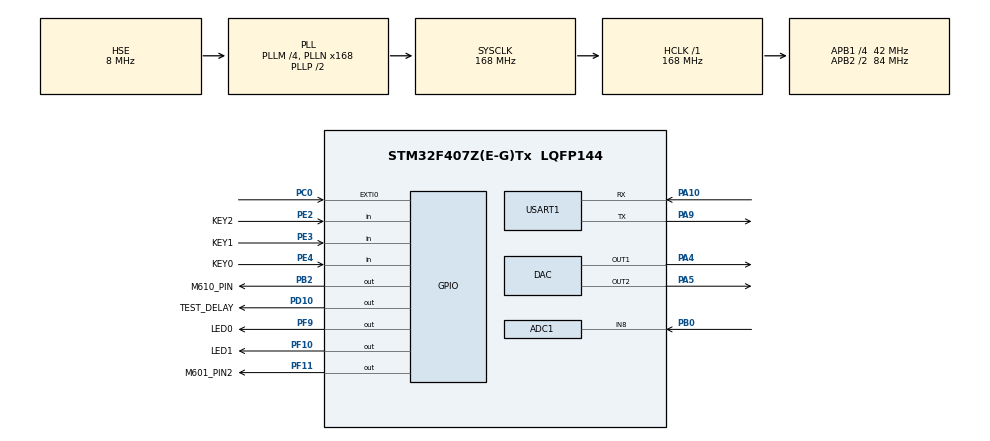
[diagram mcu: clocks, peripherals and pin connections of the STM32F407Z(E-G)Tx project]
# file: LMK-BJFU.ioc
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ADC1.Channel-1\#ChannelRegularConversion=ADC_CHANNEL_8
ADC1.ExternalTrigConv=ADC_EXTERNALTRIGCONV_T3_TRGO
ADC1.NbrOfConversionFlag=1
ADC1.Rank-1\#ChannelRegularConversion=1
ADC1.SamplingTime-1\#ChannelRegularConversion=ADC_SAMPLETIME_3CYCLES
ADC1.master=1
DAC.DAC_OutputBuffer=DAC_OUTPUTBUFFER_DISABLE
DAC.DAC_OutputBuffer2=DAC_OUTPUTBUFFER_DISABLE
DAC.DAC_Trigger=DAC_TRIGGER_T2_TRGO
DAC.DAC_Trigger2=DAC_TRIGGER_T2_TRGO
Dma.ADC1.1.Direction=DMA_PERIPH_TO_MEMORY
Dma.ADC1.1.FIFOMode=DMA_FIFOMODE_DISABLE
Dma.ADC1.1.Instance=DMA2_Stream0
Dma.ADC1.1.MemDataAlignment=DMA_MDATAALIGN_HALFWORD
Dma.ADC1.1.MemInc=DMA_MINC_ENABLE
Dma.ADC1.1.Mode=DMA_NORMAL
Dma.ADC1.1.PeriphDataAlignment=DMA_PDATAALIGN_HALFWORD
Dma.ADC1.1.PeriphInc=DMA_PINC_DISABLE
Dma.ADC1.1.Priority=DMA_PRIORITY_LOW
Dma.DAC1.2.Direction=DMA_MEMORY_TO_PERIPH
Dma.DAC1.2.FIFOMode=DMA_FIFOMODE_DISABLE
Dma.DAC1.2.Instance=DMA1_Stream5
Dma.DAC1.2.MemDataAlignment=DMA_MDATAALIGN_HALFWORD
Dma.DAC1.2.MemInc=DMA_MINC_ENABLE
Dma.DAC1.2.Mode=DMA_CIRCULAR
Dma.DAC1.2.PeriphDataAlignment=DMA_PDATAALIGN_HALFWORD
Dma.DAC1.2.PeriphInc=DMA_PINC_DISABLE
Dma.DAC1.2.Priority=DMA_PRIORITY_LOW
Dma.DAC2.3.Direction=DMA_MEMORY_TO_PERIPH
Dma.DAC2.3.FIFOMode=DMA_FIFOMODE_DISABLE
Dma.DAC2.3.Instance=DMA1_Stream6
Dma.DAC2.3.MemDataAlignment=DMA_MDATAALIGN_HALFWORD
Dma.DAC2.3.MemInc=DMA_MINC_ENABLE
Dma.DAC2.3.Mode=DMA_CIRCULAR
Dma.DAC2.3.PeriphDataAlignment=DMA_PDATAALIGN_HALFWORD
Dma.DAC2.3.PeriphInc=DMA_PINC_DISABLE
Dma.DAC2.3.Priority=DMA_PRIORITY_LOW
Dma.Request0=USART1_TX
Dma.Request1=ADC1
Dma.Request2=DAC1
Dma.Request3=DAC2
Dma.USART1_TX.0.Direction=DMA_MEMORY_TO_PERIPH
Dma.USART1_TX.0.FIFOMode=DMA_FIFOMODE_DISABLE
Dma.USART1_TX.0.Instance=DMA2_Stream7
Dma.USART1_TX.0.MemDataAlignment=DMA_MDATAALIGN_BYTE
Dma.USART1_TX.0.MemInc=DMA_MINC_ENABLE
Dma.USART1_TX.0.Mode=DMA_NORMAL
Dma.USART1_TX.0.PeriphDataAlignment=DMA_PDATAALIGN_BYTE
Dma.USART1_TX.0.PeriphInc=DMA_PINC_DISABLE
Dma.USART1_TX.0.Priority=DMA_PRIORITY_MEDIUM
FREERTOS.Tasks01=M601_Task,-2,256,M601_Task_Main,As weak,NULL,Dynamic,NULL,NULL
Mcu.Family=STM32F4
Mcu.Name=STM32F407Z(E-G)Tx
Mcu.Package=LQFP144
NVIC.DMA1_Stream5_IRQn=true\:5\:0\:false\:false\:true\:true\:false\:true\:true
NVIC.DMA1_Stream6_IRQn=true\:5\:0\:false\:false\:true\:true\:false\:true\:true
NVIC.DMA2_Stream0_IRQn=true\:5\:0\:true\:false\:true\:true\:false\:true\:true
NVIC.DMA2_Stream7_IRQn=true\:7\:0\:true\:false\:true\:true\:false\:true\:true
NVIC.EXTI0_IRQn=true\:6\:0\:true\:false\:true\:true\:true\:true\:true
NVIC.PriorityGroup=NVIC_PRIORITYGROUP_4
NVIC.USART1_IRQn=true\:5\:0\:true\:false\:true\:true\:true\:true\:true
PA10.Mode=Asynchronous
PA10.Signal=USART1_RX
PA13.Mode=Serial_Wire
PA13.Signal=SYS_JTMS-SWDIO
PA14.Mode=Serial_Wire
PA14.Signal=SYS_JTCK-SWCLK
PA4.Signal=COMP_DAC1_group
PA5.Signal=COMP_DAC2_group
PA9.Mode=Asynchronous
PA9.Signal=USART1_TX
PB0.Signal=ADCx_IN8
PB2.GPIO_Label=M610_PIN
PB2.GPIO_ModeDefaultOutputPP=GPIO_MODE_OUTPUT_OD
PB2.GPIO_PuPd=GPIO_PULLUP
PB2.GPIO_Speed=GPIO_SPEED_FREQ_VERY_HIGH
PB2.PinState=GPIO_PIN_SET
PB2.Signal=GPIO_Output
PB8.Signal=I2C1_SCL
PB9.Signal=I2C1_SDA
PC0.Signal=GPXTI0
PD10.GPIO_Label=TEST_DELAY
PD10.GPIO_ModeDefaultOutputPP=GPIO_MODE_OUTPUT_OD
PD10.GPIO_PuPd=GPIO_PULLUP
PD10.GPIO_Speed=GPIO_SPEED_FREQ_VERY_HIGH
PD10.PinState=GPIO_PIN_SET
PD10.Signal=GPIO_Output
PE2.GPIO_Label=KEY2
PE2.GPIO_PuPd=GPIO_PULLUP
PE2.Signal=GPIO_Input
PE3.GPIO_Label=KEY1
PE3.GPIO_PuPd=GPIO_PULLUP
PE3.Signal=GPIO_Input
PE4.GPIO_Label=KEY0
PE4.GPIO_PuPd=GPIO_PULLUP
PE4.Signal=GPIO_Input
PF10.GPIO_Label=LED1
PF10.GPIO_Speed=GPIO_SPEED_FREQ_VERY_HIGH
PF10.Signal=GPIO_Output
PF11.GPIO_Label=M601_PIN2
PF11.GPIO_ModeDefaultOutputPP=GPIO_MODE_OUTPUT_OD
PF11.GPIO_PuPd=GPIO_PULLUP
PF11.GPIO_Speed=GPIO_SPEED_FREQ_VERY_HIGH
PF11.PinState=GPIO_PIN_SET
PF11.Signal=GPIO_Output
PF9.GPIO_Label=LED0
PF9.GPIO_Speed=GPIO_SPEED_FREQ_VERY_HIGH
PF9.Signal=GPIO_Output
PH0-OSC_IN.Mode=HSE-External-Oscillator
PH0-OSC_IN.Signal=RCC_OSC_IN
PH1-OSC_OUT.Mode=HSE-External-Oscillator
PH1-OSC_OUT.Signal=RCC_OSC_OUT
ProjectManager.HeapSize=0x400
ProjectManager.StackSize=0x600
ProjectManager.TargetToolchain=MDK-ARM V5.32
RCC.48MHZClocksFreq_Value=84000000
RCC.AHBFreq_Value=168000000
RCC.APB1CLKDivider=RCC_HCLK_DIV4
RCC.APB1Freq_Value=42000000
RCC.APB1TimFreq_Value=84000000
RCC.APB2CLKDivider=RCC_HCLK_DIV2
RCC.APB2Freq_Value=84000000
RCC.APB2TimFreq_Value=168000000
RCC.CortexFreq_Value=168000000
RCC.HCLKFreq_Value=168000000
RCC.HSE_VALUE=8000000
RCC.HSI_VALUE=16000000
RCC.LSE_VALUE=32768
RCC.PLLM=4
RCC.PLLN=168
RCC.PLLSourceVirtual=RCC_PLLSOURCE_HSE
RCC.SYSCLKFreq_VALUE=168000000
RCC.SYSCLKSource=RCC_SYSCLKSOURCE_PLLCLK
RCC.VCOOutputFreq_Value=336000000
SH.ADCx_IN8.0=ADC1_IN8,IN8
SH.COMP_DAC1_group.0=DAC_OUT1,DAC_OUT1
SH.COMP_DAC2_group.0=DAC_OUT2,DAC_OUT2
STMicroelectronics.X-CUBE-ALGOBUILD.1.3.0.LibraryCcDSPOoLibraryJjDSPOoLibrary=true
TIM2.Period=20-1
TIM2.TIM_MasterOutputTrigger=TIM_TRGO_UPDATE
TIM3.AutoReloadPreload=TIM_AUTORELOAD_PRELOAD_ENABLE
TIM3.Period=42-1
TIM3.Prescaler=2-1
TIM3.TIM_MasterOutputTrigger=TIM_TRGO_UPDATE
USART1.VirtualMode=VM_ASYNC
VP_FREERTOS_VS_CMSIS_V1.Mode=CMSIS_V1
VP_STMicroelectronics.X-CUBE-ALGOBUILD_VS_DSPOoLibraryJjLibrary_1.3.0_1.3.0.Mode=DSPOoLibraryJjLibrary
VP_TIM2_VS_ClockSourceINT.Mode=Internal
VP_TIM3_VS_ClockSourceINT.Mode=Internal
board=custom

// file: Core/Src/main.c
/* USER CODE BEGIN Header */
/**
  ******************************************************************************
  * @file           : main.c
  * @brief          : Main program body
  ******************************************************************************
  * @attention
  *
  * <h2><center>&copy; Copyright (c) 2023 STMicroelectronics.
  * All rights reserved.</center></h2>
  *
  * This software component is licensed by ST under BSD 3-Clause license,
  * the "License"; You may not use this file except in compliance with the
  * License. You may obtain a copy of the License at:
  *                        opensource.org/licenses/BSD-3-Clause
  *
  ******************************************************************************
  */
/* USER CODE END Header */
#include "main.h"
#include "cmsis_os.h"
#include "adc.h"
#include "dac.h"
#include "dma.h"
#include "tim.h"
#include "usart.h"
#include "gpio.h"

/* USER CODE BEGIN Includes */
#include "LMK_Delay.h"
#include "stdio.h"
#include "arm_math.h"
#include "arm_const_structs.h"
/* USER CODE END Includes */

void SystemClock_Config(void);
void MX_FREERTOS_Init(void);

/* USER CODE BEGIN 0 */
void generateFlatTopWindow(float32_t *window, uint32_t size);
#define FLAT_TOP_WINDOW_SIZE 1024
#define FFT_LENGTH 1024
#define SAMPLING_RATE 1000000
#define DAC_BUFFER_SIZE 512
__IO uint8_t AdcConvEnd = 0;
uint16_t adcBuff[FFT_LENGTH];
float32_t window[FFT_LENGTH * 2];
float fft_inputbuf[FFT_LENGTH * 2];
float fft_outputbuf[FFT_LENGTH];
//float32_t dacBuffer1[DAC_BUFFER_SIZE];
//float32_t dacBuffer2[DAC_BUFFER_SIZE];
//uint32_t dacValue1[DAC_BUFFER_SIZE];
//uint32_t dacValue2[DAC_BUFFER_SIZE];

uint32_t binIndex1, binIndex2;
float32_t signalFreq1;  // Frequency of first sinusoid (Hz)
float32_t signalFreq2;  // Frequency of second sinusoid (Hz)
float32_t signalAmplitude1;  // Amplitude of first sinusoid
float32_t signalAmplitude2;   // Amplitude of second sinusoid

uint32_t integerPart1;
uint32_t integerPart2;
float32_t decimalPart1;
float32_t decimalPart2;

// Function to apply Hamming window to input data
void generateFlatTopWindow(float32_t *window, uint32_t size) {
    for (uint32_t i = 0; i < size; i++) {
        float32_t a0 = 1.0;
        float32_t a1 = 1.93;
        float32_t a2 = 1.29;
        float32_t a3 = 0.388;
        float32_t a4 = 0.028;

        float32_t x = (float32_t)i / (float32_t)(size - 1);
        window[i] = a0 - a1 * cosf(2 * PI * x) + a2 * cosf(4 * PI * x) - a3 * cosf(6 * PI * x) + a4 * cosf(8 * PI * x);
    }
}
/* USER CODE END 0 */

int main(void)
{

  /* MCU Configuration--------------------------------------------------------*/

  /* Reset of all peripherals, Initializes the Flash interface and the Systick. */
  HAL_Init();

  /* Configure the system clock */
  SystemClock_Config();

  /* Initialize all configured peripherals */
  MX_GPIO_Init();
  MX_DMA_Init();
  MX_USART1_UART_Init();
  MX_ADC1_Init();
  MX_TIM3_Init();
  MX_DAC_Init();
  MX_TIM2_Init();
  /* USER CODE BEGIN 2 */

//	HAL_TIM_Base_Start_IT(&htim14);
	HAL_TIM_Base_Start(&htim3);                           //开启定时器3
  HAL_ADC_Start_DMA(&hadc1, (uint32_t *)adcBuff, FFT_LENGTH); //让ADC1去采集数，存放到adc_buff数组里
  while (!AdcConvEnd);                                   //等待转换完毕
//	for (uint16_t i = 0; i < FFT_LENGTH; i++)
//{
//    printf("%.3f\n", adcBuff[i] * 3.3 / 4095); //数据打印，查看结果
//}

for (int i = 0; i < FFT_LENGTH; i++)
{
    fft_inputbuf[i * 2] =   adcBuff[i] * 3.3 / 4096;//实部赋值，* 3.3 / 4096是为了将ADC采集到的值转换成实际电压
    fft_inputbuf[i * 2 + 1] = 0;//虚部赋值，固定为0.
}
generateFlatTopWindow(window, FFT_LENGTH * 2);
//arm_mult_f32(fft_inputbuf, window, fft_inputbuf, 2 * FFT_LENGTH);

for (int i = 0; i < FFT_LENGTH * 2; i++) {
    fft_inputbuf[i] *= window[i];
}
arm_cfft_f32(&arm_cfft_sR_f32_len1024, fft_inputbuf, 0, 1);
//此时inputbuffer放的是复数，对其求模放到outputbuffer里
arm_cmplx_mag_f32(fft_inputbuf, fft_outputbuf, FFT_LENGTH);

fft_outputbuf[0] /= 1024;

for (int i = 1; i < FFT_LENGTH; i++)//得到各次谐波幅值
{
    fft_outputbuf[i] /= 512;
}
//频率分离算法
	for (uint16_t i = FFT_LENGTH/2; i < FFT_LENGTH; i++)
{
    fft_outputbuf[i] = 0;
}
 fft_outputbuf[0] = 0;
 fft_outputbuf[1] = 0;
 fft_outputbuf[2] = 0;
arm_max_f32(fft_outputbuf, FFT_LENGTH, &signalAmplitude1, &binIndex1);
fft_outputbuf[binIndex1] = 0.0f;
 fft_outputbuf[binIndex1-1] = 0;
 fft_outputbuf[binIndex1-2] = 0;
 fft_outputbuf[binIndex1+1] = 0;
 fft_outputbuf[binIndex1+2] = 0;
arm_max_f32(fft_outputbuf, FFT_LENGTH, &signalAmplitude2, &binIndex2);
signalFreq1 = (float32_t)binIndex1 * (SAMPLING_RATE / FFT_LENGTH);
signalFreq2 = (float32_t)binIndex2 * (SAMPLING_RATE / FFT_LENGTH);
signalFreq1=signalFreq1/1000;
signalFreq2=signalFreq2/1000;

integerPart1 = (uint32_t)floor(signalFreq1);
decimalPart1 = signalFreq1 - integerPart1;
if(decimalPart1>0.5)
{
decimalPart1=1;
}
else
	decimalPart1=0;
signalFreq1=(integerPart1+decimalPart1)*1000;
if(signalFreq1>100000)
{
signalFreq1=1000000-signalFreq1;
}

uint32_t integerPart2 = (uint32_t)floor(signalFreq2);
decimalPart2 = signalFreq2 - integerPart2;
if(decimalPart2>0.5)
{
decimalPart2=1;
}
else
	decimalPart2=0;
signalFreq2=(integerPart2+decimalPart2)*1000;
if(signalFreq2>100000)
{
signalFreq2=1000000-signalFreq2;
}

if(signalFreq1>signalFreq2)
{
float32_t temp;
temp=signalFreq1;
signalFreq1=signalFreq2;
signalFreq2=temp;
}

printf("%.2f\r\n", signalFreq1);
printf("%.2f\r\n", signalFreq2);
printf("%.2f\r\n",signalAmplitude1);
printf("%.2f\r\n",signalAmplitude2);

/*DAC的运行频率为4.2M*/
uint16_t samples1 = 4200000/signalFreq1;
uint16_t samples2 =	4200000/signalFreq2;
uint16_t dacBuffer1[samples1];
uint16_t dacBuffer2[samples2];

for (int i = 0; i < samples1; i++)
{
dacBuffer1[i]=(uint32_t)((2*signalAmplitude1 * sin(2.0f * PI* i /samples1)+signalAmplitude1*2)*4096/3.3);
		              if (dacBuffer1[i] > 4095) {
                  dacBuffer1[i] = 4095;
                                           }
}

for (int i = 0; i < samples2; i++)
{
dacBuffer2[i]=(uint32_t)((2*signalAmplitude2 * sin(2.0f * PI* i /samples2)+2*signalAmplitude2)*4096/3.3);
		              if (dacBuffer2[i] > 4095) {
                  dacBuffer2[i] = 4095;
                                           }
}

HAL_TIM_Base_Start(&htim2);                           //开启定时器3
HAL_DAC_Start_DMA(&hdac, DAC_CHANNEL_1, (uint32_t *)dacBuffer1, samples1, DAC_ALIGN_12B_R);
HAL_DAC_Start_DMA(&hdac, DAC_CHANNEL_2, (uint32_t *)dacBuffer2, samples2, DAC_ALIGN_12B_R);
//HAL_DAC_Start_DMA(&hdac, DAC_CHANNEL_1, (uint32_t *)Sine12bit, 32, DAC_ALIGN_12B_R);

//printf("FFT Result:\r\n");

//for (int i = 0; i < samples2; i++)//输出各次谐波幅值
//{
//	printf("%d \r\n", i, dacBuffer2[i]);
//}

  /* USER CODE END 2 */

  /* Call init function for freertos objects (in freertos.c) */
//  MX_FREERTOS_Init();
//  /* Start scheduler */
//  osKernelStart();

  /* We should never get here as control is now taken by the scheduler */
  /* Infinite loop */
  /* USER CODE BEGIN WHILE */
  while (1)
  {
		HAL_GPIO_TogglePin (LED1_GPIO_Port ,LED1_Pin );
	  HAL_Delay (500);
//		GetTemp();
//		ReadStatusConfig(&status,&cfg);
//		printf(" SC=%2X%2X\r\n", status, cfg);
//
//		HAL_Delay(1000);
//		M601_SINGAL_HIGH();
//		LMK_Delay_Us(400);
//		M601_SINGAL_LOW();
//		LMK_Delay_Us(200);

    /* USER CODE END WHILE */

  }
}

void SystemClock_Config(void)
{
  RCC_OscInitTypeDef RCC_OscInitStruct = {0};
  RCC_ClkInitTypeDef RCC_ClkInitStruct = {0};

  /** Configure the main internal regulator output voltage
  */
  __HAL_RCC_PWR_CLK_ENABLE();
  __HAL_PWR_VOLTAGESCALING_CONFIG(PWR_REGULATOR_VOLTAGE_SCALE1);
  /** Initializes the RCC Oscillators according to the specified parameters
  * in the RCC_OscInitTypeDef structure.
  */
  RCC_OscInitStruct.OscillatorType = RCC_OSCILLATORTYPE_HSE;
  RCC_OscInitStruct.HSEState = RCC_HSE_ON;
  RCC_OscInitStruct.PLL.PLLState = RCC_PLL_ON;
  RCC_OscInitStruct.PLL.PLLSource = RCC_PLLSOURCE_HSE;
  RCC_OscInitStruct.PLL.PLLM = 4;
  RCC_OscInitStruct.PLL.PLLN = 168;
  RCC_OscInitStruct.PLL.PLLP = RCC_PLLP_DIV2;
  RCC_OscInitStruct.PLL.PLLQ = 4;
  if (HAL_RCC_OscConfig(&RCC_OscInitStruct) != HAL_OK)
  {
    Error_Handler();
  }
  /** Initializes the CPU, AHB and APB buses clocks
  */
  RCC_ClkInitStruct.ClockType = RCC_CLOCKTYPE_HCLK|RCC_CLOCKTYPE_SYSCLK
                              |RCC_CLOCKTYPE_PCLK1|RCC_CLOCKTYPE_PCLK2;
  RCC_ClkInitStruct.SYSCLKSource = RCC_SYSCLKSOURCE_PLLCLK;
  RCC_ClkInitStruct.AHBCLKDivider = RCC_SYSCLK_DIV1;
  RCC_ClkInitStruct.APB1CLKDivider = RCC_HCLK_DIV4;
  RCC_ClkInitStruct.APB2CLKDivider = RCC_HCLK_DIV2;

  if (HAL_RCC_ClockConfig(&RCC_ClkInitStruct, FLASH_LATENCY_5) != HAL_OK)
  {
    Error_Handler();
  }
}

void Error_Handler(void)
{
  __disable_irq();
  while (1)
  {
  }
}

/************************ (C) COPYRIGHT STMicroelectronics *****END OF FILE****/
